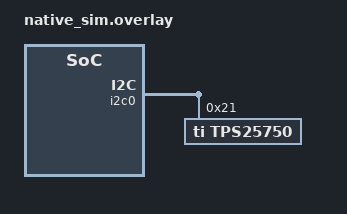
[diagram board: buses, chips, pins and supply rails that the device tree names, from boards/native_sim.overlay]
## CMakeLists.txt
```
# SPDX-License-Identifier: Apache-2.0

cmake_minimum_required(VERSION 3.20.0)

# The overlay's ti,tps25750 / ti,bq25792 nodes use this repo's custom
# bindings (fw/dts/bindings) -- must be on DTS_ROOT before Zephyr is loaded.
list(APPEND DTS_ROOT ${CMAKE_CURRENT_LIST_DIR}/../../..)

find_package(Zephyr REQUIRED HINTS $ENV{ZEPHYR_BASE})
project(power_shell_test)

# Real TPS25750 + BQ25792 drivers and the TPS25750 emulator, same as
# fw/tests/drivers/emul_tps25750 (this suite reuses that stack, not a second
# emulator setup).
add_subdirectory(
    ${CMAKE_CURRENT_LIST_DIR}/../../../drivers
    ${CMAKE_CURRENT_BINARY_DIR}/app_drivers
)

# Driver public headers (zephyr/drivers/tps25750, zephyr/drivers/bq25792, ...)
add_subdirectory(
    ${CMAKE_CURRENT_LIST_DIR}/../../../include
    ${CMAKE_CURRENT_BINARY_DIR}/app_include
)

target_sources(app PRIVATE src/main.cpp)

# Unit under test.
target_sources(app PRIVATE ${CMAKE_CURRENT_LIST_DIR}/../../../src/power.cpp)

# charger_status_thread_func (unconditionally started whenever CONFIG_BQ25792=y)
# calls into this - Zephyr-free, already covered by its own tests/power/comm_health
# suite.
target_sources(app PRIVATE ${CMAKE_CURRENT_LIST_DIR}/../../../src/power/comm_health.cpp)

# Satisfies tps25750_get_patch()'s CONFIG_TPS25750_INTERNAL_PATCH definition
# (see prj.conf) so cmd_power_pd_patch compiles/links - not otherwise
# exercised by this suite.
target_sources(app PRIVATE ${CMAKE_CURRENT_LIST_DIR}/../../../misc/tps25750/tps25750-config-compressed.c)
zephyr_include_directories(${CMAKE_CURRENT_LIST_DIR}/../../../misc)

target_include_directories(app PRIVATE ${CMAKE_CURRENT_LIST_DIR}/../../../src)
```

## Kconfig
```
source "Kconfig.zephyr"

rsource "../../../drivers/Kconfig"

# power.cpp consumes these app symbols for charger_status_thread. They're defined in
# fw/Kconfig, which standalone Twister apps don't see — redeclared here with the same
# names and defaults. (Same pattern as fw/tests/imu/pipeline/Kconfig.)
#
# KEEP THESE IN SYNC WITH fw/Kconfig. Nothing enforces it, and both had already
# drifted: the priority read 7 against fw/Kconfig's 8 (so this suite was exercising
# the thread at the wrong rank relative to pattern_controller), and the stack read
# 1024 after fw/Kconfig moved to 2048. A stale stack here is the worse of the two —
# this suite is the ONLY automated coverage of charger_status_thread, so it would
# have kept testing the size the firmware had just declared unsafe, and a deepening
# emulated BQ25792/TPS25750 path would overflow on native_sim with a crash that
# cannot be reproduced on hardware.
config APP_CHARGER_STATUS_THREAD_PRIORITY
	int "Charger status thread priority"
	default 8

config APP_CHARGER_STATUS_THREAD_STACK_SIZE
	int "Charger status thread stack size (bytes)"
	default 2048
```

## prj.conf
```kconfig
CONFIG_ZTEST=y

# Enable C++ Language Support (the BQ25792 driver is C++)
CONFIG_CPP=y

# Enable support for C++23
CONFIG_STD_CPP2B=y

# Link against the C++ Standard Library
CONFIG_REQUIRES_FULL_LIBCPP=y

# Link against the C Standard Library
CONFIG_REQUIRES_FULL_LIBC=y

CONFIG_LOG=y

CONFIG_I2C=y

# Emulator framework; CONFIG_I2C_EMUL defaults to y once EMUL is on and the
# board's zephyr,i2c-emul-controller node (native_sim's i2c0) exists.
CONFIG_EMUL=y

# Real drivers under test (both default n; the overlay provides their nodes)
CONFIG_TPS25750=y
CONFIG_BQ25792=y

# The emulated TPS25750 they talk to
CONFIG_EMUL_TPS25750=y

# `power pd patch` (cmd_power_pd_patch) isn't in this suite's test scope
# (out of scope: needs a real patch blob + CONFIG_TPS25750_INTERNAL_PATCH
# machinery beyond what testing the other shell handlers needs), but
# power.cpp calls tps25750_get_patch() unconditionally in that handler, so
# it still has to be *compiled*: this is the same minimal config
# tests/power/tps25750_patch_decompression already proves works.
CONFIG_LZ4=y
CONFIG_TPS25750_INTERNAL_PATCH=y
CONFIG_TPS25750_COMPRESSED_PATCH=y
CONFIG_TPS25750_PATCH_HEADER_FILE="tps25750/tps25750-config-compressed.h"

# power.cpp's shell command handlers are the unit under test; drive them
# through the dummy backend (shell_execute_cmd), same pattern as
# tests/led_controller.
CONFIG_SHELL=y
CONFIG_SHELL_BACKEND_DUMMY=y

# Deliberately NOT set: CONFIG_APP_CHARGER_POLICY, CONFIG_APP_BATTERY_MONITOR,
# CONFIG_APP_POWER_DEBUG_SERVICE, CONFIG_STATUS_LED - see src/main.cpp's file
# comment for why (charger_status_thread_func's background reads must not
# also perform autonomous writes that could race this suite's own shell-driven
# writes).
```

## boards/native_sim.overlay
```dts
/*
 * Instantiate the TPS25750 + BQ25792 on native_sim's emulated I2C
 * controller, same node shape as fw/tests/drivers/emul_tps25750's overlay -
 * this suite drives fw/src/power.cpp's `power bq`/`power pd` shell commands
 * against the same real-driver-plus-emulator stack that suite already
 * proves out, rather than a second, divergent emulator setup.
 */

&i2c0 {
	tps25750: tps25750@21 {
		compatible = "ti,tps25750";
		reg = <0x21>;
		patch-address = <0x15>;
		patch-chunk-size = <128>;
		status = "okay";

		#address-cells = <1>;
		#size-cells = <0>;

		bq25792: bq25792@6b {
			compatible = "ti,bq25792";
			reg = <0x6B>;
			status = "okay";
		};
	};
};
```

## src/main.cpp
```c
/*
 * Tests for fw/src/power.cpp's `power bq`/`power pd` shell command handlers
 * (issue #165/#140), driven through the real Zephyr shell dispatch (dummy
 * backend, `shell_execute_cmd`) against the real tps25750 + bq25792 drivers
 * running on the out-of-tree TPS25750 emulator - the same stack
 * fw/tests/drivers/emul_tps25750 already proves out; this suite reuses it
 * rather than a second, divergent emulator setup.
 *
 * power.cpp's `pd`/`bq`/`flash` device-binding globals were previously
 * gated on `!CONFIG_ZTEST` (always nullptr in any Twister suite); this
 * suite is the reason they're now gated on `DT_NODE_EXISTS(...)` instead -
 * this app's devicetree overlay provides real tps25750/bq25792 nodes, so
 * `power.cpp` binds real devices here, same as it would on proto0.
 *
 * `power sys boost`/`power sys vreghvout` (NRF5340 UICR/VREGHVOUT access)
 * are compiled out entirely on native_sim (power.cpp now guards them behind
 * CONFIG_SOC_NRF5340_CPUAPP, which native_sim never defines) - genuinely
 * hardware-only, out of scope here, same as the .claude/rules/fw-power.md "Power subsystem:
 * safe vs danger" boost/UICR warning already treats them.
 *
 * CONFIG_APP_CHARGER_POLICY / CONFIG_APP_BATTERY_MONITOR /
 * CONFIG_APP_POWER_DEBUG_SERVICE / CONFIG_STATUS_LED are deliberately left
 * OFF: `charger_status_thread_func` (a K_KERNEL_THREAD_DEFINE, unconditionally
 * started whenever CONFIG_BQ25792=y - not something a test app can opt out
 * of) still runs in the background, but with all four of those off it only
 * performs reads (vbat/status) plus the comm-health tick, never autonomous
 * register writes that could race this suite's own shell-driven writes.
 * `power bq charge enable/disable` therefore exercises the raw
 * bq25792_set_charge_enable() path (the `#else` branch in
 * cmd_power_bq_charge_enable), not the charger-policy-routed one.
 */

#include <zephyr/device.h>
#include <zephyr/drivers/emul.h>
#include <zephyr/kernel.h>
#include <zephyr/shell/shell.h>
#include <zephyr/shell/shell_dummy.h>
#include <zephyr/ztest.h>

#include <zephyr/drivers/bq25792/bq25792.h>
#include <zephyr/drivers/tps25750/tps25750.h>

#include "emul_tps25750.h"

#include <cstring>

static const struct device *tps_dev = DEVICE_DT_GET(DT_NODELABEL(tps25750));
static const struct device *bq_dev = DEVICE_DT_GET(DT_NODELABEL(bq25792));
static const struct emul *tps_emul = EMUL_DT_GET(DT_NODELABEL(tps25750));

/* BQ25792 register addresses (wire format is big-endian for the 16-bit ADC
 * registers), same constants as fw/tests/drivers/emul_tps25750/src/main.cpp. */
static constexpr uint8_t kRegChargerControl0 = 0x0F; /* EN_CHG = bit 5 */
static constexpr uint8_t kRegChargerStatus1 = 0x1C;  /* CHG_STAT = bits 7:5 */
static constexpr uint8_t kRegIbusAdc = 0x31;
static constexpr uint8_t kRegIbatAdc = 0x33;
static constexpr uint8_t kRegVbusAdc = 0x35;
static constexpr uint8_t kRegVbatAdc = 0x3B;

static constexpr int32_t kVbatMv = 8323;
static constexpr int32_t kIbatMa = -150; /* discharge: sign bit set on the wire */
static constexpr int32_t kVbusMv = 4994;
static constexpr int32_t kIbusMa = 21;
static constexpr uint8_t kChgStat = 3; /* Fast Charge CC */

static void seed_bq_adc_regs(void) {
    auto seed16 = [](uint8_t reg, int32_t value) {
        uint16_t raw = (uint16_t)(int16_t)value;
        uint8_t be[2] = {(uint8_t)(raw >> 8), (uint8_t)(raw & 0xFF)};
        zassert_ok(emul_tps25750_set_bq_reg(tps_emul, reg, be, sizeof(be)));
    };
    seed16(kRegVbatAdc, kVbatMv);
    seed16(kRegIbatAdc, kIbatMa);
    seed16(kRegVbusAdc, kVbusMv);
    seed16(kRegIbusAdc, kIbusMa);

    uint8_t status1 = (uint8_t)(kChgStat << 5);
    zassert_ok(emul_tps25750_set_bq_reg(tps_emul, kRegChargerStatus1, &status1, 1));
}

/* Runs a shell command through the real dispatch (dummy backend), returning
 * the handler's own return code; *outText (if non-null) is set to the
 * captured stdout for that one command. */
static int run_cmd(const char *cmd, const char **outText = nullptr) {
    const struct shell *sh = shell_backend_dummy_get_ptr();
    zassert_not_null(sh, "dummy shell backend missing");
    shell_backend_dummy_clear_output(sh);
    int rc = shell_execute_cmd(sh, cmd);
    k_msleep(10);
    if (outText != nullptr) {
        size_t len = 0;
        *outText = shell_backend_dummy_get_output(sh, &len);
    }
    return rc;
}

/* emul_tps25750_reset() deliberately preserves MODE (see its doc comment) -
 * a prior test that forced PTCH mode (force_ptch(), or a successful GO2P)
 * would otherwise leak a wedged bridge into every test that runs after it.
 * ztest doesn't run this suite's tests in declaration order (observed:
 * alphabetical), so nothing here can assume "the PTCH tests run last" -
 * every test must be able to start from a healthy bridge regardless of
 * what ran before it. Recovers the same way real hardware does: a patch
 * download (PBMs -> chunked upload -> PBMc) moves MODE back to 'APP '. */
static void ensure_app_mode() {
    char mode[5] = {};
    emul_tps25750_get_mode(tps_emul, mode);
    if (strcmp(mode, "PTCH") != 0) {
        return;
    }
    const char *patch = nullptr;
    size_t patch_size = 0;
    /* A failure here (e.g. LZ4 decompression error) would otherwise leave
     * `patch`/`patch_size` at nullptr/0, silently skip the PBMs step below,
     * and leave MODE stuck at PTCH - surfacing as a confusing bridge-failure
     * symptom in whichever test happens to run next instead of a clear,
     * immediate diagnostic here. */
    zassert_ok(tps25750_get_patch(&patch, &patch_size));
    (void)tps25750_download_patch(tps_dev, patch, patch_size);
}

static void power_shell_before(void *fixture) {
    ARG_UNUSED(fixture);
    ensure_app_mode();
    emul_tps25750_reset(tps_emul);
    emul_tps25750_bq_por_defaults(tps_emul);
}

ZTEST_SUITE(power_shell, NULL, NULL, power_shell_before, NULL, NULL);

ZTEST(power_shell, test_devices_ready) {
    zassert_true(device_is_ready(tps_dev));
    zassert_true(device_is_ready(bq_dev));
}

/* ---- power bq status ------------------------------------------------- */

ZTEST(power_shell, test_bq_status_success) {
    seed_bq_adc_regs();
    uint8_t charge_control = 0;
    zassert_ok(emul_tps25750_get_bq_reg(tps_emul, kRegChargerControl0, &charge_control, 1));
    charge_control |= BIT(5); /* EN_CHG */
    zassert_ok(emul_tps25750_set_bq_reg(tps_emul, kRegChargerControl0, &charge_control, 1));

    const char *out = nullptr;
    zassert_equal(run_cmd("power bq status", &out), 0);
    zassert_not_null(strstr(out, "VBAT=8323 mV"), "output: %s", out);
    zassert_not_null(strstr(out, "IBAT=-150 mA"), "output: %s", out);
    zassert_not_null(strstr(out, "VBUS=4994 mV"), "output: %s", out);
    zassert_not_null(strstr(out, "IBUS=21 mA"), "output: %s", out);
    zassert_not_null(strstr(out, "EN_CHG=1"), "output: %s", out);
    zassert_is_null(strstr(out, "reads failed"), "unexpected warning: %s", out);
}

/* Every I2Cr/I2Cw task rejects while the emulated part is in PTCH mode -
 * the "all-reads-fail" path issue #165 calls out as the minimum bar.
 *
 * This doesn't assert on the captured shell text like the other tests:
 * forcing PTCH makes every one of the 6 underlying getters LOG_ERR (the
 * dummy backend is also a log backend - log_backend=true in shell_dummy.c),
 * and that volume of interleaved log output empirically starves the
 * dummy buffer's own shell_print/shell_warn content even after the same
 * settle delay run_cmd() uses elsewhere in this suite (verified: `out` came
 * back empty). Verifying the getters themselves fail is the same underlying
 * propagation cmd_power_bq_status's "N of 6 reads failed" branch depends on
 * - this proves the branch is genuinely reachable without fighting that
 * buffering interaction. */
ZTEST(power_shell, test_bq_status_all_reads_fail) {
    emul_tps25750_force_ptch(tps_emul);

    int32_t vbat_mv = 0;
    zassert_true(bq25792_get_vbat_mv(bq_dev, &vbat_mv) != 0,
                "VBAT read should fail while the bridge is wedged in PTCH");

    zassert_equal(run_cmd("power bq status"), 0, "handler itself must not error out");
}

/* ---- power bq limits ---------------------------------------------------
 * A one-shot bridge failure lands on whichever internal I2Cm transaction
 * cmd_power_bq_limits issues first, so this deliberately doesn't pin down
 * which specific field fails - it asserts on the general "a read failed"
 * outcome (either bq25792_get_limits's own hard error, or the later
 * "ADC read failed" warn line), both of which are real, distinct error
 * branches in the handler. */
ZTEST(power_shell, test_bq_limits_partial_failure) {
    seed_bq_adc_regs();
    emul_tps25750_arm_i2cm_status(tps_emul, 0x01);

    const char *out = nullptr;
    (void)run_cmd("power bq limits", &out);
    zassert_not_null(strstr(out, "failed"), "expected a failure indication: %s", out);
}

ZTEST(power_shell, test_bq_limits_success) {
    seed_bq_adc_regs();

    const char *out = nullptr;
    zassert_equal(run_cmd("power bq limits", &out), 0);
    zassert_not_null(strstr(out, "ICHG="), "output: %s", out);
    zassert_not_null(strstr(out, "VBAT=8323 mV"), "output: %s", out);
}

/* ---- power bq charge enable/disable ------------------------------------ */

ZTEST(power_shell, test_bq_charge_enable_roundtrip) {
    uint8_t reg = 0;

    zassert_equal(run_cmd("power bq charge enable enable"), 0);
    zassert_ok(emul_tps25750_get_bq_reg(tps_emul, kRegChargerControl0, &reg, 1));
    zassert_equal(reg & BIT(5), BIT(5), "EN_CHG not set (reg 0x%02X)", reg);

    zassert_equal(run_cmd("power bq charge enable disable"), 0);
    zassert_ok(emul_tps25750_get_bq_reg(tps_emul, kRegChargerControl0, &reg, 1));
    zassert_equal(reg & BIT(5), 0, "EN_CHG not cleared (reg 0x%02X)", reg);
}

/* ---- power bq temp_override / adc / pfm / freq: simple setter round trips */

ZTEST(power_shell, test_bq_simple_setters) {
    zassert_equal(run_cmd("power bq temp_override enable"), 0);
    zassert_equal(run_cmd("power bq temp_override disable"), 0);
    zassert_equal(run_cmd("power bq adc enable"), 0);
    zassert_equal(run_cmd("power bq adc disable"), 0);
    zassert_equal(run_cmd("power bq pfm enable"), 0);
    zassert_equal(run_cmd("power bq pfm disable"), 0);
    zassert_equal(run_cmd("power bq freq high"), 0);
    zassert_equal(run_cmd("power bq freq low"), 0);
}

/* ---- power bq hiz: refuses without a battery present -------------------- */

ZTEST(power_shell, test_bq_hiz_refused_without_battery) {
    emul_tps25750_bq_set_vbat_present(tps_emul, false);

    const char *out = nullptr;
    zassert_equal(run_cmd("power bq hiz enable", &out), -EPERM);
    zassert_not_null(strstr(out, "no battery present"), "output: %s", out);

    uint8_t reg = 0xFF;
    zassert_ok(emul_tps25750_get_bq_reg(tps_emul, kRegChargerControl0, &reg, 1));
    /* EN_HIZ (bit 7) must NOT have been set by the refused command. */
    zassert_equal(reg & BIT(2), 0, "EN_HIZ set despite refusal (reg 0x%02X)", reg);
}

ZTEST(power_shell, test_bq_hiz_accepted_with_battery) {
    emul_tps25750_bq_set_vbat_present(tps_emul, true);

    zassert_equal(run_cmd("power bq hiz enable"), 0);
    uint8_t reg = 0;
    zassert_ok(emul_tps25750_get_bq_reg(tps_emul, kRegChargerControl0, &reg, 1));
    zassert_equal(reg & BIT(2), BIT(2), "EN_HIZ not set (reg 0x%02X)", reg);

    /* Disable is never gated (no battery-present check on the disable path). */
    zassert_equal(run_cmd("power bq hiz disable"), 0);
    zassert_ok(emul_tps25750_get_bq_reg(tps_emul, kRegChargerControl0, &reg, 1));
    zassert_equal(reg & BIT(2), 0, "EN_HIZ not cleared (reg 0x%02X)", reg);
}

/* ---- power bq dump / dump charge params: read-only smoke tests --------- */

ZTEST(power_shell, test_bq_dumps_do_not_fail) {
    zassert_equal(run_cmd("power bq dump"), 0);
    zassert_equal(run_cmd("power bq charge dump"), 0);
}

/* ---- power pd go2p: refuses without a battery present ------------------- */

ZTEST(power_shell, test_pd_go2p_refused_without_battery) {
    emul_tps25750_bq_set_vbat_present(tps_emul, false);

    const char *out = nullptr;
    zassert_equal(run_cmd("power pd go2p", &out), -EPERM);
    zassert_not_null(strstr(out, "no battery present"), "output: %s", out);

    char mode[5] = {};
    emul_tps25750_get_mode(tps_emul, mode);
    zassert_str_equal(mode, "APP ", "MODE must not have changed on a refused GO2P");
}

/* The emulator deliberately always accepts GO2P (see emul_tps25750.c) so
 * native_sim exercises the success path; hardware may legitimately return
 * REJECTED instead (see tps25750_go2p()'s own comment / .claude/rules/fw-power.md). */
ZTEST(power_shell, test_pd_go2p_accepted_with_battery) {
    emul_tps25750_bq_set_vbat_present(tps_emul, true);

    const char *out = nullptr;
    zassert_equal(run_cmd("power pd go2p", &out), 0);
    zassert_not_null(strstr(out, "GO2P accepted"), "output: %s", out);

    char mode[5] = {};
    emul_tps25750_get_mode(tps_emul, mode);
    zassert_str_equal(mode, "PTCH", "controller should have re-entered PTCH mode");
}

/* ---- power pd dump / contract / clear_dbfg: read-only smoke tests ------- */

ZTEST(power_shell, test_pd_dump_and_contract_do_not_fail) {
    zassert_equal(run_cmd("power pd dump"), 0);

    const char *out = nullptr;
    zassert_equal(run_cmd("power pd contract", &out), 0);
    zassert_not_null(strstr(out, "connected="), "output: %s", out);
}

ZTEST(power_shell, test_pd_clear_dead_battery_flag) {
    zassert_equal(run_cmd("power pd clear_dbfg"), 0);
}
```
